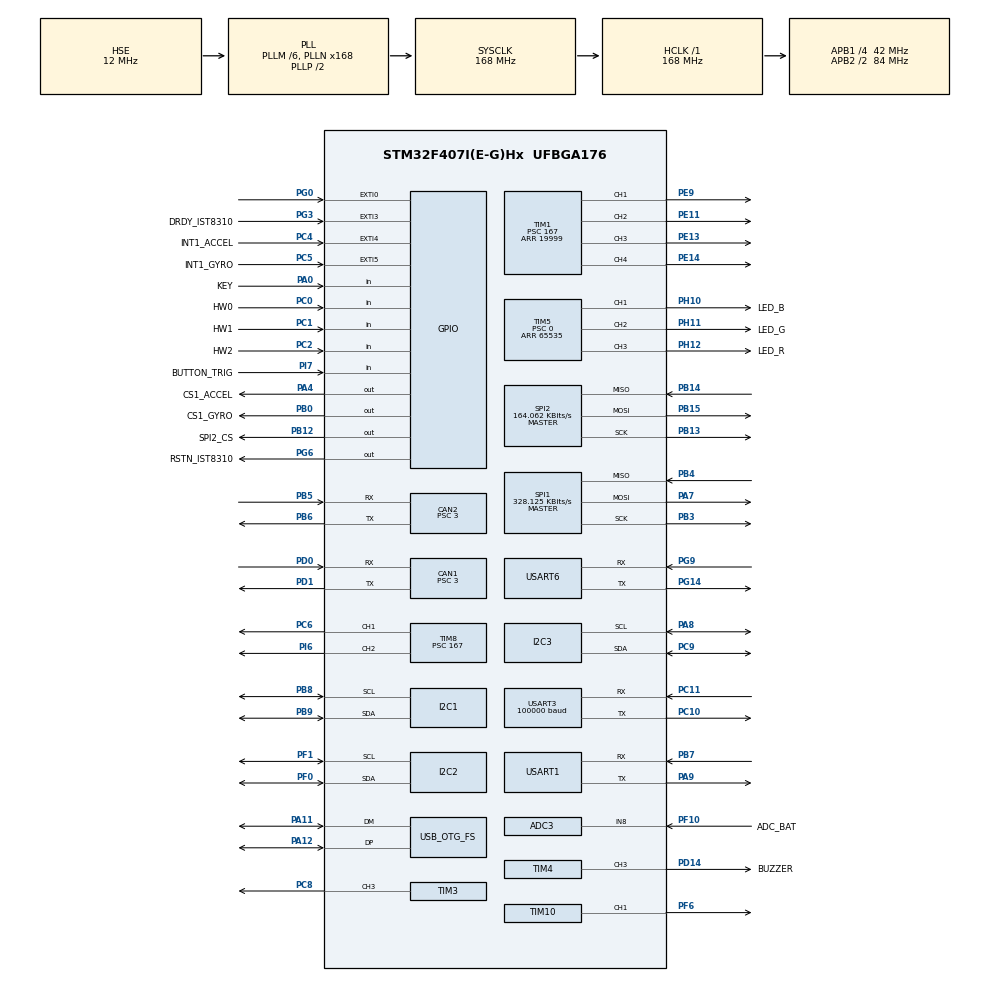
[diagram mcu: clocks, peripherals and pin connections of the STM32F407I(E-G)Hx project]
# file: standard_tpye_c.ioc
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VP_TIM5_VS_ClockSourceINT.Mode=Internal
Dma.SPI1_TX.1.Priority=DMA_PRIORITY_HIGH
PH0-OSC_IN.Signal=RCC_OSC_IN
SH.S_TIM1_CH4.0=TIM1_CH4,PWM Generation4 CH4
PE14.GPIO_Speed=GPIO_SPEED_FREQ_HIGH
PG6.PinState=GPIO_PIN_SET
PH12.Signal=S_TIM5_CH3
SPI1.VirtualType=VM_MASTER
Dma.USART6_TX.5.Priority=DMA_PRIORITY_MEDIUM
SPI2.VirtualType=VM_MASTER
VP_ADC1_TempSens_Input.Mode=IN-TempSens
PH12.GPIO_Speed=GPIO_SPEED_FREQ_HIGH
Dma.SPI1_TX.1.FIFOMode=DMA_FIFOMODE_DISABLE
PG6.GPIO_Label=RSTN_IST8310
PG0.Signal=GPXTI0
VP_RTC_VS_RTC_Activate.Mode=RTC_Enabled
Dma.USART1_TX.6.PeriphInc=DMA_PINC_DISABLE
PB13.Signal=SPI2_SCK
Dma.USART6_TX.5.FIFOMode=DMA_FIFOMODE_DISABLE
PH10.GPIO_PuPd=GPIO_PULLUP
RCC.SYSCLKSource=RCC_SYSCLKSOURCE_PLLCLK
PD14.GPIO_Speed=GPIO_SPEED_FREQ_VERY_HIGH
FREERTOS.INCLUDE_pcTaskGetTaskName=1
RTC.SynchPrediv=3199
USART3.BaudRate=100000
Dma.SPI1_RX.0.Direction=DMA_PERIPH_TO_MEMORY
Dma.USART3_RX.3.PeriphDataAlignment=DMA_PDATAALIGN_BYTE
SPI1.Direction=SPI_DIRECTION_2LINES
RCC.APB2TimFreq_Value=168000000
PB6.Signal=CAN2_TX
VP_TIM10_VS_ClockSourceINT.Mode=Enable_Timer
PB12.PinState=GPIO_PIN_SET
PB6.Mode=Slave
Dma.USART1_TX.6.Mode=DMA_NORMAL
SPI1.CalculateBaudRate=328.125 KBits/s
PD0.Signal=CAN1_RX
Dma.I2C2_TX.2.Direction=DMA_MEMORY_TO_PERIPH
PF10.GPIO_Label=ADC_BAT
PH10.GPIO_Label=LED_B
Dma.USART6_TX.5.PeriphDataAlignment=DMA_PDATAALIGN_BYTE
Dma.SPI1_TX.1.PeriphDataAlignment=DMA_PDATAALIGN_BYTE
Dma.I2C2_TX.2.Priority=DMA_PRIORITY_HIGH
TIM4.Channel-PWM\ Generation3\ CH3=TIM_CHANNEL_3
Dma.USART6_TX.5.MemDataAlignment=DMA_MDATAALIGN_BYTE
RCC.RCC_RTC_Clock_Source_FROM_HSE=RCC_RTCCLKSOURCE_HSE_DIV30
PB3.Mode=Full_Duplex_Master
TIM10.Channel=TIM_CHANNEL_1
PB12.GPIO_Label=SPI2_CS
Dma.SPI1_RX.0.PeriphInc=DMA_PINC_DISABLE
Dma.USART6_RX.4.Instance=DMA2_Stream1
PG14.Mode=Asynchronous
VP_ADC1_Vref_Input.Mode=IN-Vrefint
PG6.GPIO_PuPd=GPIO_PULLUP
FREERTOS.INCLUDE_xQueueGetMutexHolder=1
PC4.GPIO_Label=INT1_ACCEL
Dma.SPI1_TX.1.Mode=DMA_NORMAL
TIM1.Channel-PWM\ Generation1\ CH1=TIM_CHANNEL_1
PE9.Signal=S_TIM1_CH1
PI6.Signal=S_TIM8_CH2
PB14.Mode=Full_Duplex_Master
PC9.Mode=I2C
SPI2.CalculateBaudRate=164.062 KBits/s
Dma.USART3_RX.3.PeriphInc=DMA_PINC_DISABLE
PA8.Signal=I2C3_SCL
PD14.GPIO_PuPd=GPIO_PULLUP
TIM4.Period=65535
Dma.USART6_TX.5.Instance=DMA2_Stream6
VP_FREERTOS_VS_CMSIS_V1.Mode=CMSIS_V1
PG0.GPIO_PuPd=GPIO_PULLUP
VP_TIM1_VS_ClockSourceINT.Mode=Internal
ADC1.SamplingTime-0\#ChannelRegularConversion=ADC_SAMPLETIME_3CYCLES
Dma.USART1_TX.6.Direction=DMA_MEMORY_TO_PERIPH
CAN1.Prescaler=3
PB9.Signal=I2C1_SDA
Mcu.Package=UFBGA176
PH10.GPIO_Speed=GPIO_SPEED_FREQ_HIGH
PB14.GPIO_PuPd=GPIO_PULLUP
SPI2.Mode=SPI_MODE_MASTER
Dma.I2C2_TX.2.FIFOMode=DMA_FIFOMODE_DISABLE
PI7.GPIO_PuPd=GPIO_PULLUP
PI6.GPIO_Speed=GPIO_SPEED_FREQ_HIGH
ADC3.Rank-0\#ChannelRegularConversion=1
PC6.GPIO_PuPd=GPIO_PULLUP
PC8.GPIO_Speed=GPIO_SPEED_FREQ_HIGH
PC11.Mode=Asynchronous
Dma.USART3_RX.3.MemInc=DMA_MINC_ENABLE
RCC.APB2CLKDivider=RCC_HCLK_DIV2
NVIC.DMA2_Stream2_IRQn=true\:5\:0\:true\:false\:false\:true\:false\:true
RCC.APB1TimFreq_Value=84000000
Dma.I2C2_TX.2.Instance=DMA1_Stream7
PF10.Mode=IN8
TIM1.Period=19999
PB13.Mode=Full_Duplex_Master
PC6.GPIO_Speed=GPIO_SPEED_FREQ_HIGH
PA4.GPIO_Label=CS1_ACCEL
Dma.SPI1_TX.1.Instance=DMA2_Stream3
PG6.GPIO_Speed=GPIO_SPEED_FREQ_MEDIUM
CAN1.CalculateTimeQuantum=71.42857142857143
FREERTOS.INCLUDE_xTimerPendFunctionCall=1
NVIC.EXTI4_IRQn=true\:5\:0\:true\:false\:true\:true\:true\:true
Dma.I2C2_TX.2.MemDataAlignment=DMA_MDATAALIGN_BYTE
PC4.GPIO_ModeDefaultEXTI=GPIO_MODE_IT_FALLING
FREERTOS.Tasks01=test,24,128,test_task,As weak,NULL,Dynamic,NULL,NULL
ADC1.Rank-0\#ChannelRegularConversion=1
PE11.GPIO_Speed=GPIO_SPEED_FREQ_HIGH
FREERTOS.INCLUDE_xTaskGetCurrentTaskHandle=1
PG9.Signal=USART6_RX
FREERTOS.INCLUDE_vTaskDelayUntil=1
PI6.GPIO_PuPd=GPIO_PULLUP
Dma.USART6_RX.4.Priority=DMA_PRIORITY_HIGH
PG9.Mode=Asynchronous
PC2.Signal=GPIO_Input
PC6.Signal=S_TIM8_CH1
PD1.Signal=CAN1_TX
TIM5.Channel-PWM\ Generation3\ CH3=TIM_CHANNEL_3
SPI1.CLKPhase=SPI_PHASE_2EDGE
NVIC.DMA2_Stream1_IRQn=true\:5\:0\:true\:false\:true\:true\:false\:true
PC0.Signal=GPIO_Input
RCC.APB1CLKDivider=RCC_HCLK_DIV4
SH.S_TIM8_CH2.0=TIM8_CH2,PWM Generation2 CH2
PA0-WKUP.GPIO_Label=KEY
PA0-WKUP.Signal=GPIO_Input
TIM3.Channel-PWM\ Generation3\ CH3=TIM_CHANNEL_3
PF1.Mode=I2C
Dma.SPI1_TX.1.MemDataAlignment=DMA_MDATAALIGN_BYTE
I2C1.I2C_Mode=I2C_Fast
Dma.USART6_TX.5.Mode=DMA_NORMAL
Dma.USART3_RX.3.FIFOMode=DMA_FIFOMODE_DISABLE
PA9.Signal=USART1_TX
PH11.GPIO_Label=LED_G
TIM1.Channel-PWM\ Generation2\ CH2=TIM_CHANNEL_2
VP_TIM8_VS_ClockSourceINT.Mode=Internal
PB4.GPIO_PuPd=GPIO_PULLUP
NVIC.DMA2_Stream6_IRQn=true\:5\:0\:true\:false\:true\:true\:false\:true
PG0.GPIO_ModeDefaultEXTI=GPIO_MODE_IT_FALLING
PC5.GPIO_ModeDefaultEXTI=GPIO_MODE_IT_FALLING
PB14.Signal=SPI2_MISO
SH.S_TIM8_CH1.0=TIM8_CH1,PWM Generation1 CH1
PD1.Mode=Master
PB13.GPIO_PuPd=GPIO_PULLUP
PI7.Signal=GPIO_Input
PE14.Signal=S_TIM1_CH4
SPI1.Mode=SPI_MODE_MASTER
Dma.SPI1_RX.0.PeriphDataAlignment=DMA_PDATAALIGN_BYTE
RCC.RCC_RTC_Clock_SourceVirtual=RCC_RTCCLKSOURCE_HSE_DIV30
FREERTOS.INCLUDE_xEventGroupSetBitFromISR=1
PA13.Mode=Serial_Wire
TIM8.Period=19999
PC8.GPIO_PuPd=GPIO_PULLUP
TIM5.Channel-PWM\ Generation2\ CH2=TIM_CHANNEL_2
PA4.Signal=GPIO_Output
PB5.Signal=CAN2_RX
ADC1.master=1
Dma.USART6_RX.4.Direction=DMA_PERIPH_TO_MEMORY
USART1.VirtualMode=VM_ASYNC
PA11.Signal=USB_OTG_FS_DM
TIM5.Channel-PWM\ Generation1\ CH1=TIM_CHANNEL_1
ProjectManager.HeapSize=0x2000
Dma.SPI1_RX.0.Priority=DMA_PRIORITY_VERY_HIGH
VP_TIM4_VS_ClockSourceINT.Mode=Internal
NVIC.PriorityGroup=NVIC_PRIORITYGROUP_4
PB8.Mode=I2C
PF6.GPIO_PuPd=GPIO_PULLUP
PG3.GPIO_ModeDefaultEXTI=GPIO_MODE_IT_FALLING
PA0-WKUP.GPIO_PuPd=GPIO_PULLUP
PA8.Mode=I2C
TIM1.Channel-PWM\ Generation3\ CH3=TIM_CHANNEL_3
PG3.GPIO_Label=DRDY_IST8310
PB12.GPIO_PuPd=GPIO_PULLUP
PB0.Signal=GPIO_Output
Dma.USART1_TX.6.Priority=DMA_PRIORITY_MEDIUM
PC1.Signal=GPIO_Input
NVIC.CAN1_RX0_IRQn=true\:6\:0\:true\:false\:true\:true\:true\:true
PF6.GPIO_Speed=GPIO_SPEED_FREQ_HIGH
USART3.Parity=PARITY_EVEN
Mcu.Family=STM32F4
NVIC.USART3_IRQn=true\:4\:0\:true\:false\:false\:false\:true\:true
USB_DEVICE.CLASS_NAME_FS=CDC
Dma.USART6_TX.5.MemInc=DMA_MINC_ENABLE
RCC.CortexFreq_Value=168000000
PG6.Signal=GPIO_Output
NVIC.CAN2_RX0_IRQn=true\:6\:0\:true\:false\:true\:true\:true\:true
PH10.Signal=S_TIM5_CH1
PC10.Signal=USART3_TX
TIM8.Pulse-PWM\ Generation1\ CH1=1000
SH.S_TIM5_CH2.0=TIM5_CH2,PWM Generation2 CH2
Dma.USART1_TX.6.PeriphDataAlignment=DMA_PDATAALIGN_BYTE
Dma.SPI1_TX.1.PeriphInc=DMA_PINC_DISABLE
NVIC.EXTI3_IRQn=true\:5\:0\:true\:false\:true\:true\:true\:true
PC0.GPIO_Label=HW0
PA11.Mode=Device_Only
PE9.GPIO_Speed=GPIO_SPEED_FREQ_HIGH
PB0.GPIO_Label=CS1_GYRO
USB_DEVICE.VirtualMode-CDC_FS=Cdc
TIM1.Pulse-PWM\ Generation1\ CH1=1000
PB15.Signal=SPI2_MOSI
ADC3.Channel-0\#ChannelRegularConversion=ADC_CHANNEL_8
Dma.USART3_RX.3.Mode=DMA_NORMAL
ProjectManager.StackSize=0x2000
PG3.GPIO_PuPd=GPIO_PULLUP
PH11.GPIO_PuPd=GPIO_PULLUP
Dma.USART3_RX.3.MemDataAlignment=DMA_MDATAALIGN_BYTE
PH11.GPIO_Speed=GPIO_SPEED_FREQ_HIGH
PA12.Signal=USB_OTG_FS_DP
TIM1.Prescaler=167
SPI1.CLKPolarity=SPI_POLARITY_HIGH
SPI2.CLKPolarity=SPI_POLARITY_HIGH
PE11.GPIO_PuPd=GPIO_PULLUP
PB0.PinState=GPIO_PIN_SET
TIM1.Channel-PWM\ Generation4\ CH4=TIM_CHANNEL_4
RCC.HCLKFreq_Value=168000000
TIM8.Channel-PWM\ Generation1\ CH1=TIM_CHANNEL_1
TIM3.Period=8399
SH.S_TIM5_CH3.0=TIM5_CH3,PWM Generation3 CH3
RCC.AHBFreq_Value=168000000
SPI2.BaudRatePrescaler=SPI_BAUDRATEPRESCALER_256
PH0-OSC_IN.Mode=HSE-External-Oscillator
ADC1.Channel-0\#ChannelRegularConversion=ADC_CHANNEL_TEMPSENSOR
RCC.HSE_VALUE=12000000
PA4.GPIO_PuPd=GPIO_PULLUP
Dma.USART6_RX.4.Mode=DMA_NORMAL
Dma.USART3_RX.3.Instance=DMA1_Stream1
PE13.GPIO_PuPd=GPIO_PULLUP
PA4.GPIO_Speed=GPIO_SPEED_FREQ_HIGH
PB3.GPIO_PuPd=GPIO_PULLUP
PB4.Mode=Full_Duplex_Master
PE13.Signal=S_TIM1_CH3
Dma.I2C2_TX.2.MemInc=DMA_MINC_ENABLE
PA14.Mode=Serial_Wire
CAN2.Prescaler=3
PB5.Mode=Slave
RTC.AsynchPrediv=124
PB7.Signal=USART1_RX
FREERTOS.INCLUDE_vTaskCleanUpResources=1
FREERTOS.configTOTAL_HEAP_SIZE=24576
NVIC.DMA1_Stream7_IRQn=true\:5\:0\:true\:false\:false\:true\:false\:true
PH1-OSC_OUT.Mode=HSE-External-Oscillator
Dma.USART6_RX.4.PeriphInc=DMA_PINC_DISABLE
TIM8.Pulse-PWM\ Generation2\ CH2=1000
NVIC.DMA2_Stream7_IRQn=true\:5\:0\:true\:false\:true\:true\:false\:true
FREERTOS.INCLUDE_xTaskAbortDelay=1
CAN2.BS1=CAN_BS1_10TQ
CAN2.BS2=CAN_BS2_3TQ
PB15.GPIO_PuPd=GPIO_PULLUP
TIM1.Pulse-PWM\ Generation2\ CH2=1000
USART6.VirtualMode=VM_ASYNC
SH.S_TIM10_CH1.0=TIM10_CH1,PWM Generation1 CH1
NVIC.OTG_FS_IRQn=true\:5\:0\:false\:false\:true\:true\:false\:true
TIM8.Channel-PWM\ Generation2\ CH2=TIM_CHANNEL_2
USB_OTG_FS.VirtualMode=Device_Only
SPI2.CLKPhase=SPI_PHASE_2EDGE
ADC3.ClockPrescaler=ADC_CLOCK_SYNC_PCLK_DIV6
TIM8.Prescaler=167
Dma.USART6_RX.4.MemInc=DMA_MINC_ENABLE
Dma.Request2=I2C2_TX
Dma.Request1=SPI1_TX
Dma.Request4=USART6_RX
Dma.Request3=USART3_RX
SH.S_TIM5_CH1.0=TIM5_CH1,PWM Generation1 CH1
Dma.Request6=USART1_TX
Dma.Request5=USART6_TX
SPI2.Direction=SPI_DIRECTION_2LINES
PF0.Signal=I2C2_SDA
PC5.Signal=GPXTI5
Dma.Request0=SPI1_RX
SPI1.BaudRatePrescaler=SPI_BAUDRATEPRESCALER_256
I2C2.I2C_Mode=I2C_Fast
PC2.GPIO_Label=HW2
VP_TIM3_VS_ClockSourceINT.Mode=Internal
PB4.Signal=SPI1_MISO
Dma.USART6_RX.4.MemDataAlignment=DMA_MDATAALIGN_BYTE
Dma.USART1_TX.6.MemInc=DMA_MINC_ENABLE
I2C3.I2C_Mode=I2C_Fast
Dma.SPI1_TX.1.MemInc=DMA_MINC_ENABLE
Dma.USART3_RX.3.Direction=DMA_PERIPH_TO_MEMORY
PA7.Mode=Full_Duplex_Master
PH11.Signal=S_TIM5_CH2
PH12.GPIO_Label=LED_R
USB_DEVICE.VirtualModeFS=Cdc_FS
PG3.Signal=GPXTI3
PC4.GPIO_PuPd=GPIO_PULLUP
PC11.Signal=USART3_RX
Dma.USART6_TX.5.Direction=DMA_MEMORY_TO_PERIPH
PC8.Signal=S_TIM3_CH3
PC10.Mode=Asynchronous
PC4.Signal=GPXTI4
Dma.I2C2_TX.2.Mode=DMA_NORMAL
Dma.USART6_RX.4.PeriphDataAlignment=DMA_PDATAALIGN_BYTE
Dma.USART6_RX.4.FIFOMode=DMA_FIFOMODE_DISABLE
NVIC.DMA1_Stream1_IRQn=true\:5\:0\:true\:false\:false\:true\:false\:false
Dma.SPI1_RX.0.Mode=DMA_NORMAL
VP_RNG_VS_RNG.Mode=RNG_Activate
PC5.GPIO_PuPd=GPIO_PULLUP
Dma.SPI1_TX.1.Direction=DMA_MEMORY_TO_PERIPH
SH.S_TIM3_CH3.0=TIM3_CH3,PWM Generation3 CH3
FREERTOS.INCLUDE_uxTaskGetStackHighWaterMark=1
NVIC.USART6_IRQn=true\:5\:0\:true\:false\:false\:true\:true\:true
PB0.GPIO_Speed=GPIO_SPEED_FREQ_HIGH
PA13.Signal=SYS_JTMS-SWDIO
Dma.SPI1_RX.0.FIFOMode=DMA_FIFOMODE_DISABLE
TIM1.Pulse-PWM\ Generation3\ CH3=1000
PA9.Mode=Asynchronous
ADC3.SamplingTime-0\#ChannelRegularConversion=ADC_SAMPLETIME_3CYCLES
SH.S_TIM1_CH1.0=TIM1_CH1,PWM Generation1 CH1
PA4.PinState=GPIO_PIN_SET
CAN1.BS2=CAN_BS2_3TQ
Dma.I2C2_TX.2.PeriphDataAlignment=DMA_PDATAALIGN_BYTE
PF6.Signal=S_TIM10_CH1
CAN1.BS1=CAN_BS1_10TQ
ProjectManager.TargetToolchain=MDK-ARM V5
Dma.USART1_TX.6.FIFOMode=DMA_FIFOMODE_DISABLE
SH.S_TIM4_CH3.0=TIM4_CH3,PWM Generation3 CH3
VP_USB_DEVICE_VS_USB_DEVICE_CDC_FS.Mode=CDC_FS
PB9.Mode=I2C
NVIC.DMA2_Stream3_IRQn=true\:5\:0\:true\:false\:false\:true\:false\:true
TIM4.Prescaler=167
PE11.Signal=S_TIM1_CH2
RCC.LSE_VALUE=32768
PA7.GPIO_PuPd=GPIO_PULLUP
PB12.GPIO_Speed=GPIO_SPEED_FREQ_MEDIUM
Dma.USART1_TX.6.Instance=DMA2_Stream7
PG14.Signal=USART6_TX
board=custom
Dma.I2C2_TX.2.PeriphInc=DMA_PINC_DISABLE
RCC.VCOOutputFreq_Value=336000000
PB15.Mode=Full_Duplex_Master
FREERTOS.INCLUDE_eTaskGetState=1
TIM10.Period=4999
RCC.APB2Freq_Value=84000000
SH.S_TIM1_CH2.0=TIM1_CH2,PWM Generation2 CH2
PF10.Signal=ADC3_IN8
Dma.SPI1_RX.0.Instance=DMA2_Stream2
PC1.GPIO_Label=HW1
CAN2.CalculateTimeQuantum=71.42857142857143
PH1-OSC_OUT.Signal=RCC_OSC_OUT
PI7.GPIO_Label=BUTTON_TRIG
Dma.SPI1_RX.0.MemDataAlignment=DMA_MDATAALIGN_BYTE
PD14.GPIO_Label=BUZZER
PE14.GPIO_PuPd=GPIO_PULLUP
PF1.Signal=I2C2_SCL
Mcu.Name=STM32F407I(E-G)Hx
PD0.Mode=Master
FREERTOS.INCLUDE_xSemaphoreGetMutexHolder=1
Dma.SPI1_RX.0.MemInc=DMA_MINC_ENABLE
PD14.Signal=S_TIM4_CH3
RCC.48MHZClocksFreq_Value=48000000
PB3.Signal=SPI1_SCK
NVIC.EXTI0_IRQn=true\:6\:0\:true\:false\:true\:true\:true\:true
RCC.SYSCLKFreq_VALUE=168000000
PA12.Mode=Device_Only
Dma.USART6_TX.5.PeriphInc=DMA_PINC_DISABLE
TIM5.Prescaler=0
PC5.GPIO_Label=INT1_GYRO
USART3.VirtualMode=VM_ASYNC
PB7.Mode=Asynchronous
NVIC.EXTI9_5_IRQn=true\:5\:0\:true\:false\:true\:true\:true\:true
PA14.Signal=SYS_JTCK-SWCLK
PF0.Mode=I2C
FREERTOS.INCLUDE_xTaskGetHandle=1
SH.S_TIM1_CH3.0=TIM1_CH3,PWM Generation3 CH3
TIM1.Pulse-PWM\ Generation4\ CH4=1000
RCC.HSI_VALUE=16000000
RCC.PLLQ=7
ADC1.NbrOfConversionFlag=1
RCC.PLLM=6
RCC.PLLN=168
PE13.GPIO_Speed=GPIO_SPEED_FREQ_HIGH
PB8.Signal=I2C1_SCL
PH12.GPIO_PuPd=GPIO_PULLUP
Dma.USART3_RX.3.Priority=DMA_PRIORITY_HIGH
Dma.USART1_TX.6.MemDataAlignment=DMA_MDATAALIGN_BYTE
TIM5.Period=65535
PC9.Signal=I2C3_SDA
RCC.APB1Freq_Value=42000000
ADC3.NbrOfConversionFlag=1
VP_CRC_VS_CRC.Mode=CRC_Activate
ADC1.ClockPrescaler=ADC_CLOCK_SYNC_PCLK_DIV6
PB12.Signal=GPIO_Output
PB0.GPIO_PuPd=GPIO_PULLUP
PA7.Signal=SPI1_MOSI
PE9.GPIO_PuPd=GPIO_PULLUP

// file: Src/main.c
/* USER CODE BEGIN Header */
/**
  ******************************************************************************
  * @file           : main.c
  * @brief          : Main program body
  ******************************************************************************
  * @attention

*/

/**************************河北建筑工程学院LuBan战队***************************/
/*

          自定义UI需要更改机器人ID和操作手ID ui_graph文件进行UI绘制

*/

/* USER CODE END Header */

#include "main.h"
#include "cmsis_os.h"
#include "adc.h"
#include "can.h"
#include "crc.h"
#include "dma.h"
#include "i2c.h"
#include "rng.h"
#include "rtc.h"
#include "spi.h"
#include "tim.h"
#include "usart.h"
#include "usb_device.h"
#include "gpio.h"

/* USER CODE BEGIN Includes */
#include "bsp_can.h"
#include "bsp_delay.h"
#include "bsp_usart.h"
#include "remote_control.h"

#include "calibrate_task.h"
#include "chassis_task.h"
#include "detect_task.h"
#include "gimbal_task.h"
#include "INS_task.h"
#include "led_flow_task.h"
#include "oled_task.h"
#include "referee_usart_task.h"
#include "usb_task.h"
#include "voltage_task.h"
#include "RM_Cilent_UI.h"
#include "string.h"
#include "AutoAimTask.h"
/* USER CODE END Includes */

/* USER CODE BEGIN PV */

//Graph_Data G1,G2,G3,G4,G5;

/* USER CODE END PV */

void SystemClock_Config(void);
void MX_FREERTOS_Init(void);

int main(void)
{

  /* MCU Configuration--------------------------------------------------------*/

  /* Reset of all peripherals, Initializes the Flash interface and the Systick. */
  HAL_Init();

  /* Configure the system clock */
  SystemClock_Config();

  /* Initialize all configured peripherals */
  MX_GPIO_Init();
  MX_DMA_Init();
  MX_ADC1_Init();
  MX_ADC3_Init();
  MX_CAN1_Init();
  MX_CAN2_Init();
  MX_I2C1_Init();
  MX_SPI1_Init();
  MX_TIM4_Init();
  MX_TIM5_Init();
  MX_USART3_UART_Init();
  MX_TIM8_Init();
  MX_CRC_Init();
  MX_RNG_Init();
  MX_I2C2_Init();
  MX_I2C3_Init();
  MX_RTC_Init();
  MX_SPI2_Init();
  MX_TIM1_Init();
  MX_TIM3_Init();
  MX_TIM10_Init();
  MX_USART1_UART_Init();
  MX_USART6_UART_Init();
  /* USER CODE BEGIN 2 */
    can_filter_init();
    delay_init();
    cali_param_init();
    remote_control_init();
    usart1_tx_dma_init();
	InitAutoAim();
  /* USER CODE END 2 */

  /* Call init function for freertos objects (in freertos.c) */
  MX_FREERTOS_Init();

  /* Start scheduler */
  osKernelStart();

  /* We should never get here as control is now taken by the scheduler */

  /* Infinite loop */
  /* USER CODE BEGIN WHILE */
	while(chassis_state!=1)HAL_Delay(100);      //等待超级电容充满电
  while (1)
  {

    /* USER CODE END WHILE */

  }
}

void SystemClock_Config(void)
{
  RCC_OscInitTypeDef RCC_OscInitStruct = {0};
  RCC_ClkInitTypeDef RCC_ClkInitStruct = {0};
  RCC_PeriphCLKInitTypeDef PeriphClkInitStruct = {0};

  /** Configure the main internal regulator output voltage
  */
  __HAL_RCC_PWR_CLK_ENABLE();
  __HAL_PWR_VOLTAGESCALING_CONFIG(PWR_REGULATOR_VOLTAGE_SCALE1);
  /** Initializes the CPU, AHB and APB busses clocks
  */
  RCC_OscInitStruct.OscillatorType = RCC_OSCILLATORTYPE_HSE;
  RCC_OscInitStruct.HSEState = RCC_HSE_ON;
  RCC_OscInitStruct.PLL.PLLState = RCC_PLL_ON;
  RCC_OscInitStruct.PLL.PLLSource = RCC_PLLSOURCE_HSE;
  RCC_OscInitStruct.PLL.PLLM = 6;
  RCC_OscInitStruct.PLL.PLLN = 168;
  RCC_OscInitStruct.PLL.PLLP = RCC_PLLP_DIV2;
  RCC_OscInitStruct.PLL.PLLQ = 7;
  if (HAL_RCC_OscConfig(&RCC_OscInitStruct) != HAL_OK)
  {
    Error_Handler();
  }
  /** Initializes the CPU, AHB and APB busses clocks
  */
  RCC_ClkInitStruct.ClockType = RCC_CLOCKTYPE_HCLK|RCC_CLOCKTYPE_SYSCLK
                              |RCC_CLOCKTYPE_PCLK1|RCC_CLOCKTYPE_PCLK2;
  RCC_ClkInitStruct.SYSCLKSource = RCC_SYSCLKSOURCE_PLLCLK;
  RCC_ClkInitStruct.AHBCLKDivider = RCC_SYSCLK_DIV1;
  RCC_ClkInitStruct.APB1CLKDivider = RCC_HCLK_DIV4;
  RCC_ClkInitStruct.APB2CLKDivider = RCC_HCLK_DIV2;

  if (HAL_RCC_ClockConfig(&RCC_ClkInitStruct, FLASH_LATENCY_5) != HAL_OK)
  {
    Error_Handler();
  }
  PeriphClkInitStruct.PeriphClockSelection = RCC_PERIPHCLK_RTC;
  PeriphClkInitStruct.RTCClockSelection = RCC_RTCCLKSOURCE_HSE_DIV30;
  if (HAL_RCCEx_PeriphCLKConfig(&PeriphClkInitStruct) != HAL_OK)
  {
    Error_Handler();
  }
}

void Error_Handler(void)
{
}

/************************ (C) COPYRIGHT STMicroelectronics *****END OF FILE****/

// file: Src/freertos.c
/* USER CODE BEGIN Header */
/**
  ******************************************************************************
  * File Name          : freertos.c
  * Description        : Code for freertos applications
  ******************************************************************************
  * @attention
  *
  * <h2><center>&copy; Copyright (c) 2019 STMicroelectronics.
  * All rights reserved.</center></h2>
  *
  * This software component is licensed by ST under Ultimate Liberty license
  * SLA0044, the "License"; You may not use this file except in compliance with
  * the License. You may obtain a copy of the License at:
  *                             www.st.com/SLA0044
  *
  ******************************************************************************
  */
/* USER CODE END Header */

#include "FreeRTOS.h"
#include "task.h"
#include "main.h"
#include "cmsis_os.h"

/* USER CODE BEGIN Includes */

#include "calibrate_task.h"
#include "chassis_task.h"
#include "detect_task.h"
#include "gimbal_task.h"
#include "INS_task.h"
#include "led_flow_task.h"
#include "oled_task.h"
#include "referee_usart_task.h"
#include "usb_task.h"
#include "voltage_task.h"
#include "servo_task.h"
#include "ui_graph.h"
#include "AutoAimTask.h"
/* USER CODE END Includes */

/* USER CODE BEGIN PTD */

osThreadId calibrate_tast_handle;
osThreadId chassisTaskHandle;
osThreadId detect_handle;
osThreadId gimbalTaskHandle;
osThreadId imuTaskHandle;
osThreadId led_RGB_flow_handle;
osThreadId oled_handle;
osThreadId referee_usart_task_handle;
osThreadId usb_task_handle;
osThreadId battery_voltage_handle;
osThreadId servo_task_handle;
osThreadId ui_task_handle;
osThreadId aim_task_handle;

/* USER CODE END PTD */

osThreadId testHandle;

void test_task(void const * argument);

extern void MX_USB_DEVICE_Init(void);
void MX_FREERTOS_Init(void); /* (MISRA C 2004 rule 8.1) */

/* GetIdleTaskMemory prototype (linked to static allocation support) */
void vApplicationGetIdleTaskMemory( StaticTask_t **ppxIdleTaskTCBBuffer, StackType_t **ppxIdleTaskStackBuffer, uint32_t *pulIdleTaskStackSize );

/* GetTimerTaskMemory prototype (linked to static allocation support) */
void vApplicationGetTimerTaskMemory( StaticTask_t **ppxTimerTaskTCBBuffer, StackType_t **ppxTimerTaskStackBuffer, uint32_t *pulTimerTaskStackSize );

/* USER CODE BEGIN GET_IDLE_TASK_MEMORY */
static StaticTask_t xIdleTaskTCBBuffer;
static StackType_t xIdleStack[configMINIMAL_STACK_SIZE];

void vApplicationGetIdleTaskMemory( StaticTask_t **ppxIdleTaskTCBBuffer, StackType_t **ppxIdleTaskStackBuffer, uint32_t *pulIdleTaskStackSize )
{
  *ppxIdleTaskTCBBuffer = &xIdleTaskTCBBuffer;
  *ppxIdleTaskStackBuffer = &xIdleStack[0];
  *pulIdleTaskStackSize = configMINIMAL_STACK_SIZE;
  /* place for user code */
}
/* USER CODE END GET_IDLE_TASK_MEMORY */

/* USER CODE BEGIN GET_TIMER_TASK_MEMORY */
static StaticTask_t xTimerTaskTCBBuffer;
static StackType_t xTimerStack[configTIMER_TASK_STACK_DEPTH];

void vApplicationGetTimerTaskMemory( StaticTask_t **ppxTimerTaskTCBBuffer, StackType_t **ppxTimerTaskStackBuffer, uint32_t *pulTimerTaskStackSize )
{
  *ppxTimerTaskTCBBuffer = &xTimerTaskTCBBuffer;
  *ppxTimerTaskStackBuffer = &xTimerStack[0];
  *pulTimerTaskStackSize = configTIMER_TASK_STACK_DEPTH;
  /* place for user code */
}
/* USER CODE END GET_TIMER_TASK_MEMORY */

void MX_FREERTOS_Init(void) {

  /* Create the thread(s) */
  /* definition and creation of test */
  osThreadDef(test, test_task, osPriorityNormal, 0, 128);
  testHandle = osThreadCreate(osThread(test), NULL);

  /* USER CODE BEGIN RTOS_THREADS */
  /* add threads, ... */
    osThreadDef(cali, calibrate_task, osPriorityNormal, 0, 512);
    calibrate_tast_handle = osThreadCreate(osThread(cali), NULL);

    osThreadDef(ChassisTask, chassis_task, osPriorityAboveNormal, 0, 512);
    chassisTaskHandle = osThreadCreate(osThread(ChassisTask), NULL);

    osThreadDef(DETECT, detect_task, osPriorityNormal, 0, 256);
    detect_handle = osThreadCreate(osThread(DETECT), NULL);

    osThreadDef(gimbalTask, gimbal_task, osPriorityHigh, 0, 512);
    gimbalTaskHandle = osThreadCreate(osThread(gimbalTask), NULL);

    osThreadDef(imuTask, INS_task, osPriorityRealtime, 0, 1024);
    imuTaskHandle = osThreadCreate(osThread(imuTask), NULL);

    osThreadDef(led, led_RGB_flow_task, osPriorityNormal, 0, 256);
    led_RGB_flow_handle = osThreadCreate(osThread(led), NULL);

    osThreadDef(OLED, oled_task, osPriorityLow, 0, 256);
    oled_handle = osThreadCreate(osThread(OLED), NULL);

    osThreadDef(REFEREE, referee_usart_task, osPriorityNormal, 0, 128);
    referee_usart_task_handle = osThreadCreate(osThread(REFEREE), NULL);

    osThreadDef(USBTask, usb_task, osPriorityNormal, 0, 128);
    usb_task_handle = osThreadCreate(osThread(USBTask), NULL);

    osThreadDef(BATTERY_VOLTAGE, battery_voltage_task, osPriorityNormal, 0, 128);
    battery_voltage_handle = osThreadCreate(osThread(BATTERY_VOLTAGE), NULL);

    osThreadDef(SERVO, servo_task, osPriorityNormal, 0, 128);
    servo_task_handle = osThreadCreate(osThread(SERVO), NULL);

    osThreadDef(UI, ui_task, osPriorityNormal, 0, 128);
    ui_task_handle = osThreadCreate(osThread(UI), NULL);

	osThreadDef(AUTOAIM, autoAim, osPriorityNormal, 0, 128);
    aim_task_handle = osThreadCreate(osThread(AUTOAIM), NULL);

  /* USER CODE END RTOS_THREADS */

}

__weak void test_task(void const * argument)
{
  /* init code for USB_DEVICE */
  MX_USB_DEVICE_Init();

  for(;;)
  {
    osDelay(1);
  }
}

/************************ (C) COPYRIGHT STMicroelectronics *****END OF FILE****/
